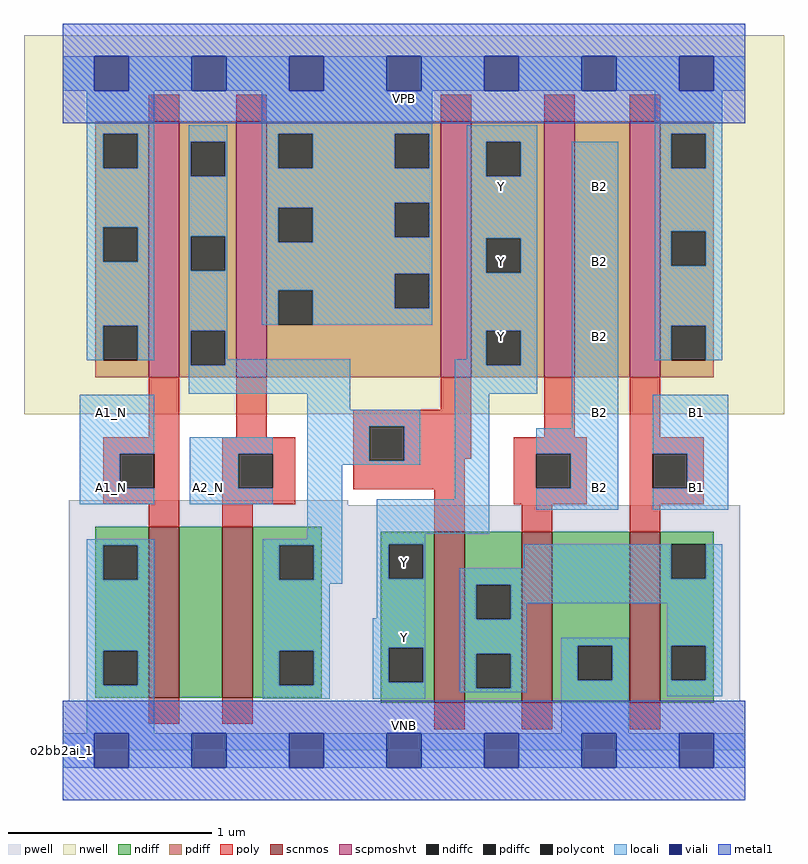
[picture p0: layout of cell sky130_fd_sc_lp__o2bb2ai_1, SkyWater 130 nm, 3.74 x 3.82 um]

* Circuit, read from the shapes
.subckt sky130_fd_sc_lp__o2bb2ai_1 A1_N A2_N B1 B2 VGND VNB VPB VPWR Y
XM1 n1 A1_N VGND VNB sky130_fd_pr__nfet_01v8 w=0.84 l=0.15
XM2 n2 A2_N n1 VNB sky130_fd_pr__nfet_01v8 w=0.84 l=0.15
XM3 n3 n2 Y VNB sky130_fd_pr__nfet_01v8 w=0.84 l=0.15
XM4 VGND B2 n3 VNB sky130_fd_pr__nfet_01v8 w=0.84 l=0.15
XM5 n3 B1 VGND VNB sky130_fd_pr__nfet_01v8 w=0.84 l=0.15
XM6 n2 A1_N VPWR VPB sky130_fd_pr__pfet_01v8_hvt w=1.26 l=0.15
XM7 VPWR A2_N n2 VPB sky130_fd_pr__pfet_01v8_hvt w=1.26 l=0.15
XM8 Y n2 VPWR VPB sky130_fd_pr__pfet_01v8_hvt w=1.26 l=0.15
XM9 n4 B2 Y VPB sky130_fd_pr__pfet_01v8_hvt w=1.26 l=0.15
XM10 VPWR B1 n4 VPB sky130_fd_pr__pfet_01v8_hvt w=1.26 l=0.15
.ends

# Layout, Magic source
magic
tech sky130A
magscale 1 2
<< nwell >>
rect -38 331 710 704
<< pwell >>
rect 6 241 281 246
rect 6 49 667 241
rect 0 0 672 49
<< scnmos >>
rect 85 52 115 220
rect 157 52 187 220
rect 366 47 396 215
rect 452 47 482 215
rect 558 47 588 215
<< scpmoshvt >>
rect 85 367 115 619
rect 171 367 201 619
rect 372 367 402 619
rect 474 367 504 619
rect 558 367 588 619
<< ndiff >>
rect 32 202 85 220
rect 32 168 40 202
rect 74 168 85 202
rect 32 98 85 168
rect 32 64 40 98
rect 74 64 85 98
rect 32 52 85 64
rect 115 52 157 220
rect 187 202 255 220
rect 187 168 213 202
rect 247 168 255 202
rect 187 98 255 168
rect 187 64 213 98
rect 247 64 255 98
rect 187 52 255 64
rect 313 203 366 215
rect 313 169 321 203
rect 355 169 366 203
rect 313 101 366 169
rect 313 67 321 101
rect 355 67 366 101
rect 313 47 366 67
rect 396 163 452 215
rect 396 129 407 163
rect 441 129 452 163
rect 396 95 452 129
rect 396 61 407 95
rect 441 61 452 95
rect 396 47 452 61
rect 482 103 558 215
rect 482 69 507 103
rect 541 69 558 103
rect 482 47 558 69
rect 588 203 641 215
rect 588 169 599 203
rect 633 169 641 203
rect 588 103 641 169
rect 588 69 599 103
rect 633 69 641 103
rect 588 47 641 69
<< pdiff >>
rect 32 607 85 619
rect 32 573 40 607
rect 74 573 85 607
rect 32 515 85 573
rect 32 481 40 515
rect 74 481 85 515
rect 32 418 85 481
rect 32 384 40 418
rect 74 384 85 418
rect 32 367 85 384
rect 115 599 171 619
rect 115 565 126 599
rect 160 565 171 599
rect 115 506 171 565
rect 115 472 126 506
rect 160 472 171 506
rect 115 413 171 472
rect 115 379 126 413
rect 160 379 171 413
rect 115 367 171 379
rect 201 607 372 619
rect 201 573 212 607
rect 246 573 327 607
rect 361 573 372 607
rect 201 539 372 573
rect 201 534 327 539
rect 201 500 212 534
rect 246 505 327 534
rect 361 505 372 539
rect 246 500 372 505
rect 201 469 372 500
rect 201 453 327 469
rect 201 419 212 453
rect 246 435 327 453
rect 361 435 372 469
rect 246 419 372 435
rect 201 367 372 419
rect 402 599 474 619
rect 402 565 417 599
rect 451 565 474 599
rect 402 504 474 565
rect 402 470 417 504
rect 451 470 474 504
rect 402 413 474 470
rect 402 379 417 413
rect 451 379 474 413
rect 402 367 474 379
rect 504 367 558 619
rect 588 607 641 619
rect 588 573 599 607
rect 633 573 641 607
rect 588 511 641 573
rect 588 477 599 511
rect 633 477 641 511
rect 588 418 641 477
rect 588 384 599 418
rect 633 384 641 418
rect 588 367 641 384
<< ndiffc >>
rect 40 168 74 202
rect 40 64 74 98
rect 213 168 247 202
rect 213 64 247 98
rect 321 169 355 203
rect 321 67 355 101
rect 407 129 441 163
rect 407 61 441 95
rect 507 69 541 103
rect 599 169 633 203
rect 599 69 633 103
<< pdiffc >>
rect 40 573 74 607
rect 40 481 74 515
rect 40 384 74 418
rect 126 565 160 599
rect 126 472 160 506
rect 126 379 160 413
rect 212 573 246 607
rect 327 573 361 607
rect 212 500 246 534
rect 327 505 361 539
rect 212 419 246 453
rect 327 435 361 469
rect 417 565 451 599
rect 417 470 451 504
rect 417 379 451 413
rect 599 573 633 607
rect 599 477 633 511
rect 599 384 633 418
<< poly >>
rect 85 619 115 645
rect 171 619 201 645
rect 372 619 402 645
rect 474 619 504 645
rect 558 619 588 645
rect 85 308 115 367
rect 171 308 201 367
rect 372 335 402 367
rect 286 319 402 335
rect 40 292 115 308
rect 40 258 56 292
rect 90 258 115 292
rect 40 242 115 258
rect 85 220 115 242
rect 157 292 229 308
rect 157 258 173 292
rect 207 258 229 292
rect 157 242 229 258
rect 286 285 302 319
rect 336 287 402 319
rect 474 308 504 367
rect 558 308 588 367
rect 444 292 516 308
rect 336 285 396 287
rect 286 257 396 285
rect 157 220 187 242
rect 366 215 396 257
rect 444 258 466 292
rect 500 258 516 292
rect 444 242 516 258
rect 558 292 631 308
rect 558 258 581 292
rect 615 258 631 292
rect 558 242 631 258
rect 452 215 482 242
rect 558 215 588 242
rect 85 26 115 52
rect 157 26 187 52
rect 366 21 396 47
rect 452 21 482 47
rect 558 21 588 47
<< polycont >>
rect 56 258 90 292
rect 173 258 207 292
rect 302 285 336 319
rect 466 258 500 292
rect 581 258 615 292
<< locali >>
rect 0 649 31 683
rect 65 649 127 683
rect 161 649 223 683
rect 257 649 319 683
rect 353 649 415 683
rect 449 649 511 683
rect 545 649 607 683
rect 641 649 672 683
rect 24 607 90 649
rect 24 573 40 607
rect 74 573 90 607
rect 24 515 90 573
rect 24 481 40 515
rect 74 481 90 515
rect 24 418 90 481
rect 24 384 40 418
rect 74 384 90 418
rect 124 599 162 615
rect 124 565 126 599
rect 160 565 162 599
rect 124 506 162 565
rect 124 472 126 506
rect 160 472 162 506
rect 124 413 162 472
rect 196 607 364 649
rect 196 573 212 607
rect 246 573 327 607
rect 361 573 364 607
rect 196 539 364 573
rect 196 534 327 539
rect 196 500 212 534
rect 246 505 327 534
rect 361 505 364 539
rect 246 500 364 505
rect 196 469 364 500
rect 196 453 327 469
rect 196 419 212 453
rect 246 435 327 453
rect 361 435 364 469
rect 246 419 364 435
rect 398 599 467 615
rect 583 607 649 649
rect 398 565 417 599
rect 451 565 467 599
rect 398 504 467 565
rect 398 470 417 504
rect 451 470 467 504
rect 124 379 126 413
rect 160 385 162 413
rect 398 413 467 470
rect 398 385 417 413
rect 160 379 283 385
rect 124 351 283 379
rect 17 292 90 350
rect 241 335 283 351
rect 386 379 417 385
rect 451 379 467 413
rect 386 351 467 379
rect 241 319 352 335
rect 17 258 56 292
rect 17 242 90 258
rect 125 292 207 308
rect 125 258 173 292
rect 125 242 207 258
rect 241 285 302 319
rect 336 285 352 319
rect 241 281 352 285
rect 241 208 275 281
rect 386 247 420 351
rect 501 317 547 599
rect 583 573 599 607
rect 633 573 649 607
rect 583 511 649 573
rect 583 477 599 511
rect 633 477 649 511
rect 583 418 649 477
rect 583 384 599 418
rect 633 384 649 418
rect 24 202 90 208
rect 24 168 40 202
rect 74 168 90 202
rect 24 98 90 168
rect 24 64 40 98
rect 74 64 90 98
rect 24 17 90 64
rect 197 202 275 208
rect 197 168 213 202
rect 247 168 275 202
rect 197 164 275 168
rect 309 213 420 247
rect 466 292 547 317
rect 500 258 547 292
rect 466 237 547 258
rect 581 292 655 350
rect 615 258 655 292
rect 581 237 655 258
rect 309 203 357 213
rect 309 169 321 203
rect 355 169 357 203
rect 454 179 599 203
rect 197 98 263 164
rect 309 130 357 169
rect 197 64 213 98
rect 247 64 263 98
rect 197 51 263 64
rect 305 101 357 130
rect 305 67 321 101
rect 355 67 357 101
rect 305 51 357 67
rect 391 169 599 179
rect 633 169 649 203
rect 391 163 649 169
rect 391 129 407 163
rect 441 145 649 163
rect 441 129 457 145
rect 391 95 457 129
rect 391 61 407 95
rect 441 61 457 95
rect 391 57 457 61
rect 491 103 557 111
rect 491 69 507 103
rect 541 69 557 103
rect 491 17 557 69
rect 595 103 649 145
rect 595 69 599 103
rect 633 69 649 103
rect 595 53 649 69
rect 0 -17 31 17
rect 65 -17 127 17
rect 161 -17 223 17
rect 257 -17 319 17
rect 353 -17 415 17
rect 449 -17 511 17
rect 545 -17 607 17
rect 641 -17 672 17
<< viali >>
rect 31 649 65 683
rect 127 649 161 683
rect 223 649 257 683
rect 319 649 353 683
rect 415 649 449 683
rect 511 649 545 683
rect 607 649 641 683
rect 31 -17 65 17
rect 127 -17 161 17
rect 223 -17 257 17
rect 319 -17 353 17
rect 415 -17 449 17
rect 511 -17 545 17
rect 607 -17 641 17
<< metal1 >>
rect 0 683 672 715
rect 0 649 31 683
rect 65 649 127 683
rect 161 649 223 683
rect 257 649 319 683
rect 353 649 415 683
rect 449 649 511 683
rect 545 649 607 683
rect 641 649 672 683
rect 0 617 672 649
rect 0 17 672 49
rect 0 -17 31 17
rect 65 -17 127 17
rect 161 -17 223 17
rect 257 -17 319 17
rect 353 -17 415 17
rect 449 -17 511 17
rect 545 -17 607 17
rect 641 -17 672 17
rect 0 -49 672 -17
<< labels >>
flabel pwell s 0 0 672 49 0 FreeSans 200 0 0 0 VNB
port 6 nsew ground bidirectional
flabel nwell s 0 617 672 666 0 FreeSans 200 0 0 0 VPB
port 7 nsew power bidirectional
rlabel comment s 0 0 0 0 4 o2bb2ai_1
flabel metal1 s 0 617 672 666 0 FreeSans 340 0 0 0 VPWR
port 8 nsew power bidirectional
flabel metal1 s 0 0 672 49 0 FreeSans 340 0 0 0 VGND
port 5 nsew ground bidirectional
flabel locali s 31 242 65 276 0 FreeSans 340 0 0 0 A1_N
port 1 nsew signal input
flabel locali s 31 316 65 350 0 FreeSans 340 0 0 0 A1_N
port 1 nsew signal input
flabel locali s 607 242 641 276 0 FreeSans 340 0 0 0 B1
port 3 nsew signal input
flabel locali s 607 316 641 350 0 FreeSans 340 0 0 0 B1
port 3 nsew signal input
flabel locali s 415 464 449 498 0 FreeSans 340 0 0 0 Y
port 9 nsew signal output
flabel locali s 415 390 449 424 0 FreeSans 340 0 0 0 Y
port 9 nsew signal output
flabel locali s 511 242 545 276 0 FreeSans 340 0 0 0 B2
port 4 nsew signal input
flabel locali s 511 316 545 350 0 FreeSans 340 0 0 0 B2
port 4 nsew signal input
flabel locali s 511 390 545 424 0 FreeSans 340 0 0 0 B2
port 4 nsew signal input
flabel locali s 511 464 545 498 0 FreeSans 340 0 0 0 B2
port 4 nsew signal input
flabel locali s 511 538 545 572 0 FreeSans 340 0 0 0 B2
port 4 nsew signal input
flabel locali s 127 242 161 276 0 FreeSans 340 0 0 0 A2_N
port 2 nsew signal input
flabel locali s 415 538 449 572 0 FreeSans 340 0 0 0 Y
port 9 nsew signal output
flabel locali s 319 168 353 202 0 FreeSans 340 0 0 0 Y
port 9 nsew signal output
flabel locali s 319 94 353 128 0 FreeSans 340 0 0 0 Y
port 9 nsew signal output
<< properties >>
string LEFsite unit
string LEFclass CORE
string FIXED_BBOX 0 0 672 666
string GDS_FILE $PDKPATH/libs.ref/sky130_fd_sc_lp/gds/sky130_fd_sc_lp.gds
string LEFsymmetry X Y R90
string GDS_END 4131462
string GDS_START 4123486
<< end >>
